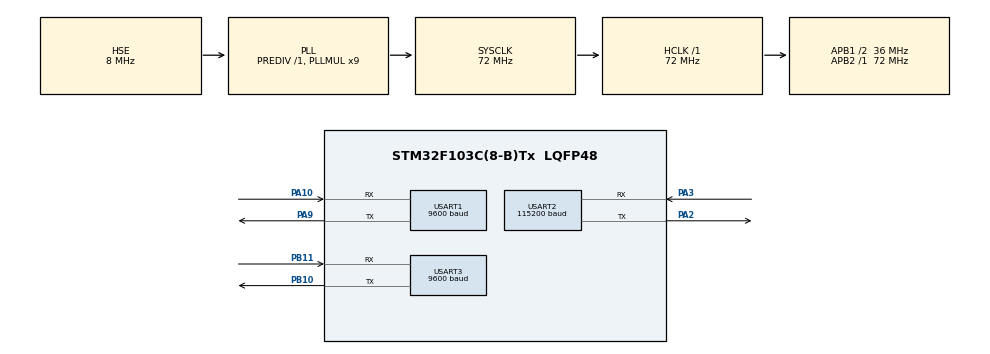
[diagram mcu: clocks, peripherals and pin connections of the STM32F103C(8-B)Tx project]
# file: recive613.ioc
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Mcu.Family=STM32F1
Mcu.Name=STM32F103C(8-B)Tx
Mcu.Package=LQFP48
NVIC.PriorityGroup=NVIC_PRIORITYGROUP_4
NVIC.USART1_IRQn=true\:2\:0\:true\:false\:true\:true\:true\:true
NVIC.USART2_IRQn=true\:1\:0\:true\:false\:true\:true\:true\:true
NVIC.USART3_IRQn=true\:0\:0\:true\:false\:true\:true\:true\:true
PA10.Mode=Asynchronous
PA10.Signal=USART1_RX
PA13.Mode=Serial_Wire
PA13.Signal=SYS_JTMS-SWDIO
PA14.Mode=Serial_Wire
PA14.Signal=SYS_JTCK-SWCLK
PA2.Mode=Asynchronous
PA2.Signal=USART2_TX
PA3.Mode=Asynchronous
PA3.Signal=USART2_RX
PA9.Mode=Asynchronous
PA9.Signal=USART1_TX
PB10.Mode=Asynchronous
PB10.Signal=USART3_TX
PB11.Mode=Asynchronous
PB11.Signal=USART3_RX
PD0-OSC_IN.Mode=HSE-External-Oscillator
PD0-OSC_IN.Signal=RCC_OSC_IN
PD1-OSC_OUT.Mode=HSE-External-Oscillator
PD1-OSC_OUT.Signal=RCC_OSC_OUT
ProjectManager.HeapSize=0x200
ProjectManager.StackSize=0x400
ProjectManager.TargetToolchain=MDK-ARM V5.32
RCC.AHBFreq_Value=72000000
RCC.APB1CLKDivider=RCC_HCLK_DIV2
RCC.APB1Freq_Value=36000000
RCC.APB1TimFreq_Value=72000000
RCC.APB2Freq_Value=72000000
RCC.APB2TimFreq_Value=72000000
RCC.HCLKFreq_Value=72000000
RCC.PLLMUL=RCC_PLL_MUL9
RCC.PLLSourceVirtual=RCC_PLLSOURCE_HSE
RCC.SYSCLKFreq_VALUE=72000000
RCC.SYSCLKSource=RCC_SYSCLKSOURCE_PLLCLK
RCC.USBFreq_Value=72000000
USART1.BaudRate=9600
USART1.VirtualMode=VM_ASYNC
USART2.BaudRate=115200
USART2.VirtualMode=VM_ASYNC
USART3.BaudRate=9600
USART3.VirtualMode=VM_ASYNC
board=custom

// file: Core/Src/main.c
/* USER CODE BEGIN Header */
/**
  ******************************************************************************
  * @file           : main.c
  * @brief          : Main program body
  ******************************************************************************
  * @attention
  *
  * Copyright (c) 2025 STMicroelectronics.
  * All rights reserved.
  *
  * This software is licensed under terms that can be found in the LICENSE file
  * in the root directory of this software component.
  * If no LICENSE file comes with this software, it is provided AS-IS.
  *
  ******************************************************************************
  */
/* USER CODE END Header */
#include "main.h"
#include "usart.h"
#include "gpio.h"

/* USER CODE BEGIN Includes */
#include "stdio.h"
#include <string.h>
#include "esp8266.h"
#include "onenet.h"
/* USER CODE END Includes */

/* USER CODE BEGIN PV */
uint8_t rxbuf[50]={0};
uint8_t rxbuf_1[50]={0};
uint8_t i=0;
uint8_t senddata[4]={1,2,3,4};
int h_int,h_dec,t_int,t_dec;
/* USER CODE END PV */

void SystemClock_Config(void);

int main(void)
{

  /* MCU Configuration--------------------------------------------------------*/

  /* Reset of all peripherals, Initializes the Flash interface and the Systick. */
  HAL_Init();

  /* Configure the system clock */
  SystemClock_Config();

  /* Initialize all configured peripherals */
  MX_GPIO_Init();
  MX_USART1_UART_Init();
  MX_USART2_UART_Init();
  MX_USART3_UART_Init();
  /* USER CODE BEGIN 2 */
	//HAL_NVIC_EnableIRQ(USART2_IRQn);
	HAL_UART_Receive_IT(&huart3,rxbuf,sizeof(rxbuf));

	//HAL_UART_Receive_IT(&huart1,rxbuf,sizeof(rxbuf));

	printf("    初始化ESP8266...\r\n");
	esp8266_init(115200);
	printf("    初始化MQTT...\r\n");
	mqtt_init();
	printf("    MQTT连接...\r\n");

	mqtt_connect(MQTT_ClientID,MQTT_UserName,MQTT_PassWord);

  /* USER CODE END 2 */
  /* Infinite loop */
  /* USER CODE BEGIN WHILE */
  while (1)
  {

		//printf("%d %d %d %d\r\n",rxbuf[0],rxbuf[1],rxbuf[2],rxbuf[3]);
		//printf("Parsed: Humi=%d.%d%%, Temp=%d.%d°C\r\n", h_int, h_dec, t_int, t_dec);

		uint8_t data_send_buff[550];
		memset(data_send_buff, 0, sizeof(data_send_buff));
		// t_int, t_dec, h_int, h_dec
		sprintf((char *)data_send_buff,"{\"id\":\"123\",\"version\":\"1.0\",\"params\":{\"CurrentTemperature\":{\"value\":%d.%d},\"CurrentHumidity\":{\"value\":%d.%d}}}"
			,t_int,t_dec,h_int,h_dec);
		mqtt_publish_data(POST_TOPIC, (char *)data_send_buff, 0);
		HAL_Delay(3000);        //3s发送一次
		mqtt_send_heart();
    /* USER CODE END WHILE */

  }
}

void SystemClock_Config(void)
{
  RCC_OscInitTypeDef RCC_OscInitStruct = {0};
  RCC_ClkInitTypeDef RCC_ClkInitStruct = {0};

  /** Initializes the RCC Oscillators according to the specified parameters
  * in the RCC_OscInitTypeDef structure.
  */
  RCC_OscInitStruct.OscillatorType = RCC_OSCILLATORTYPE_HSE;
  RCC_OscInitStruct.HSEState = RCC_HSE_ON;
  RCC_OscInitStruct.HSEPredivValue = RCC_HSE_PREDIV_DIV1;
  RCC_OscInitStruct.HSIState = RCC_HSI_ON;
  RCC_OscInitStruct.PLL.PLLState = RCC_PLL_ON;
  RCC_OscInitStruct.PLL.PLLSource = RCC_PLLSOURCE_HSE;
  RCC_OscInitStruct.PLL.PLLMUL = RCC_PLL_MUL9;
  if (HAL_RCC_OscConfig(&RCC_OscInitStruct) != HAL_OK)
  {
    Error_Handler();
  }

  /** Initializes the CPU, AHB and APB buses clocks
  */
  RCC_ClkInitStruct.ClockType = RCC_CLOCKTYPE_HCLK|RCC_CLOCKTYPE_SYSCLK
                              |RCC_CLOCKTYPE_PCLK1|RCC_CLOCKTYPE_PCLK2;
  RCC_ClkInitStruct.SYSCLKSource = RCC_SYSCLKSOURCE_PLLCLK;
  RCC_ClkInitStruct.AHBCLKDivider = RCC_SYSCLK_DIV1;
  RCC_ClkInitStruct.APB1CLKDivider = RCC_HCLK_DIV2;
  RCC_ClkInitStruct.APB2CLKDivider = RCC_HCLK_DIV1;

  if (HAL_RCC_ClockConfig(&RCC_ClkInitStruct, FLASH_LATENCY_2) != HAL_OK)
  {
    Error_Handler();
  }
}

/* USER CODE BEGIN 4 */
void HAL_UART_RxCpltCallback(UART_HandleTypeDef *huart){
	if(huart==&huart3){

		//memset(rxbuf, 0, sizeof(rxbuf));
		HAL_UART_Receive_IT(&huart3,rxbuf,sizeof(rxbuf));	//zigbee接受数据
		//printf("Received: %s\n", rxbuf);
		if (sscanf((char *)rxbuf, "T:%d.%d,H:%d.%d", &h_int, &h_dec, &t_int, &t_dec) == 4)
		{
			printf("温度: %d.%d°C, 湿度: %d.%d%%\r\n", t_int, t_dec, h_int, h_dec);
		}
		else
			printf("error!\r\n");
    memset(rxbuf, 0, sizeof(rxbuf)); // 清空缓冲区
    HAL_UART_Receive_IT(&huart3, rxbuf, 10); // 重新开启接收
//		else
//			printf("error! %d\r\n",sscanf((char *)rxbuf, "%d.%d%d.%d", &h_int, &h_dec, &t_int, &t_dec));
//
	}
	if(huart==&huart1){
		//HAL_UART_Transmit(&huart3, rxbuf,sizeof(rxbuf) , 0xffff);
		//HAL_UART_Receive_IT(&huart1,rxbuf,sizeof(rxbuf));//传送到串口2
	}
}
/* USER CODE END 4 */

void Error_Handler(void)
{
  __disable_irq();
  while (1)
  {
  }
}
